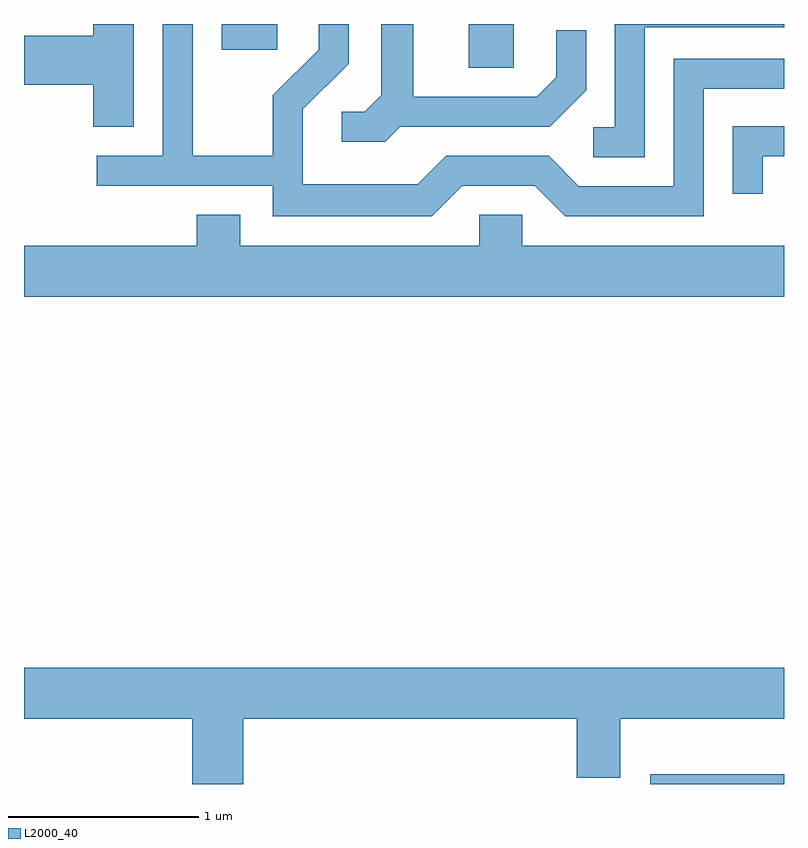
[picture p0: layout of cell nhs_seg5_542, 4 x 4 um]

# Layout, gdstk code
import gdstk
lib = gdstk.Library(unit=1e-6, precision=1e-09)
def R(c, l, rs):  # rectangles x0, y0, x1, y1
    for r in rs: c.add(gdstk.rectangle(r[:2], r[2:], *l))
def P(c, l, *ps):  # polygons
    for p in ps: c.add(gdstk.Polygon(p, *l))
L2000_40 = (2000, 40)

nhs_seg5_542 = lib.new_cell('nhs_seg5_542')
R(nhs_seg5_542, L2000_40, [(204.906,1392.072,205.611,1392.124), (203.951,1395.841,204.189,1396.072), (202.651,1395.936,202.944,1396.072)])
P(nhs_seg5_542, L2000_40, [(204.879,1396.056),(205.611,1396.056),(205.611,1396.072),(204.721,1396.072),(204.721,1395.529),(204.608,1395.529),(204.608,1395.371),(204.879,1395.371)],
  [(203.917,1395.221),(204.299,1395.221),(204.459,1395.061),(205.189,1395.061),(205.189,1395.731),(205.611,1395.731),(205.611,1395.889),(205.031,1395.889),(205.031,1395.219),(204.532,1395.219),(204.372,1395.379),(203.834,1395.379),(203.684,1395.229),(203.079,1395.229),(203.079,1395.624),(203.319,1395.864),(203.319,1396.072),(203.161,1396.072),(203.161,1395.937),(202.921,1395.697),(202.921,1395.379),(202.499,1395.379),(202.499,1396.072),(202.341,1396.072),(202.341,1395.379),(201.993,1395.379),(201.993,1395.221),(202.921,1395.221),(202.921,1395.061),(203.757,1395.061)],
  [(203.592,1395.531),(204.377,1395.531),(204.569,1395.724),(204.569,1396.038),(204.411,1396.038),(204.411,1395.792),(204.309,1395.689),(203.659,1395.689),(203.659,1396.072),(203.491,1396.072),(203.491,1395.697),(203.404,1395.609),(203.283,1395.609),(203.283,1395.451),(203.512,1395.451)],
  [(202.189,1396.072),(201.976,1396.072),(201.976,1396.009),(201.611,1396.009),(201.611,1395.751),(201.976,1395.751),(201.976,1395.531),(202.189,1395.531)],
  [(205.499,1395.376),(205.611,1395.376),(205.611,1395.534),(205.341,1395.534),(205.341,1395.178),(205.499,1395.178)],
  [(205.611,1394.904),(204.234,1394.904),(204.234,1395.069),(204.006,1395.069),(204.006,1394.904),(202.749,1394.904),(202.749,1395.069),(202.521,1395.069),(202.521,1394.904),(201.611,1394.904),(201.611,1394.636),(205.611,1394.636)],
  [(202.764,1392.416),(204.521,1392.416),(204.521,1392.106),(204.749,1392.106),(204.749,1392.416),(205.611,1392.416),(205.611,1392.684),(201.611,1392.684),(201.611,1392.416),(202.496,1392.416),(202.496,1392.072),(202.764,1392.072)])

lib.write_gds('nhs_seg5_542.gds')
